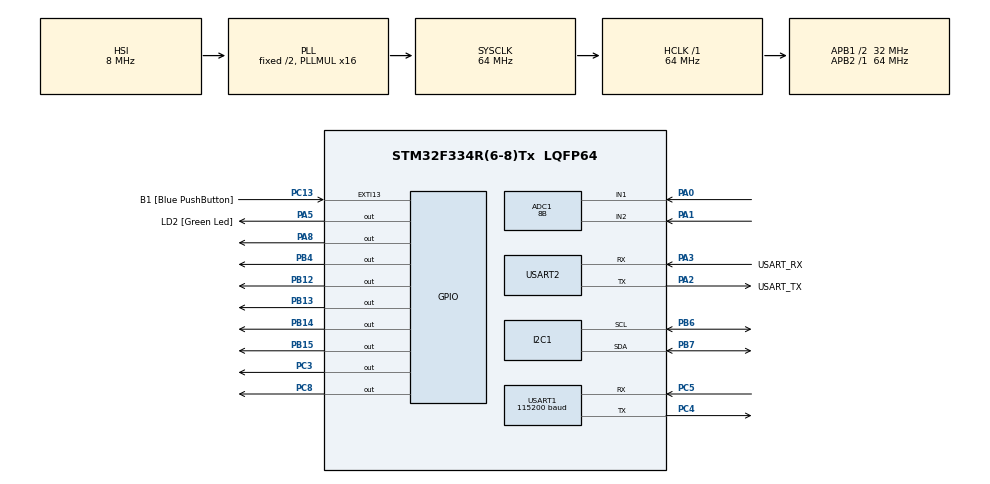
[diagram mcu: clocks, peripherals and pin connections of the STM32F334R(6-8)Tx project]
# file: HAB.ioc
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ADC1.Channel-0\#ChannelRegularConversion=ADC_CHANNEL_1
ADC1.NbrOfConversionFlag=1
ADC1.Offset-0\#ChannelRegularConversion=0
ADC1.OffsetNumber-0\#ChannelRegularConversion=ADC_OFFSET_NONE
ADC1.Rank-0\#ChannelRegularConversion=1
ADC1.Resolution=ADC_RESOLUTION_8B
ADC1.SamplingTime-0\#ChannelRegularConversion=ADC_SAMPLETIME_19CYCLES_5
ADC1.SubFamily=STM32F334x8
ADC1.master=1
Mcu.Family=STM32F3
Mcu.Name=STM32F334R(6-8)Tx
Mcu.Package=LQFP64
NVIC.PriorityGroup=NVIC_PRIORITYGROUP_0
NVIC.TIM2_IRQn=true\:0\:0\:false\:false\:true\:true
NVIC.TIM3_IRQn=true\:0\:0\:false\:false\:true\:true
NVIC.USART1_IRQn=true\:0\:0\:false\:false\:true\:true
PA0.Mode=IN1-Single-Ended
PA0.Signal=ADC1_IN1
PA1.Mode=IN2-Single-Ended
PA1.Signal=ADC1_IN2
PA13.GPIO_Label=TMS
PA13.Mode=Serial_Wire
PA13.Signal=SYS_JTMS-SWDIO
PA14.GPIO_Label=TCK
PA14.Mode=Serial_Wire
PA14.Signal=SYS_JTCK-SWCLK
PA2.GPIO_Label=USART_TX
PA2.Mode=Asynchronous
PA2.Signal=USART2_TX
PA3.GPIO_Label=USART_RX
PA3.Mode=Asynchronous
PA3.Signal=USART2_RX
PA5.GPIO_Label=LD2 [Green Led]
PA5.Signal=GPIO_Output
PA8.Signal=GPIO_Output
PB12.Signal=GPIO_Output
PB13.Signal=GPIO_Output
PB14.Signal=GPIO_Output
PB15.Signal=GPIO_Output
PB3.GPIO_Label=SWO
PB3.Signal=SYS_JTDO-TRACESWO
PB4.Signal=GPIO_Output
PB6.Mode=I2C
PB6.Signal=I2C1_SCL
PB7.Mode=I2C
PB7.Signal=I2C1_SDA
PC13.GPIO_Label=B1 [Blue PushButton]
PC13.GPIO_ModeDefaultEXTI=GPIO_MODE_IT_FALLING
PC13.Signal=GPXTI13
PC14\ /\ OSC32_IN.Mode=LSE-External-Oscillator
PC14\ /\ OSC32_IN.Signal=RCC_OSC32_IN
PC15\ /\ OSC32_OUT.GPIO_Label=RCC_OSC32_OUT
PC15\ /\ OSC32_OUT.Mode=LSE-External-Oscillator
PC15\ /\ OSC32_OUT.Signal=RCC_OSC32_OUT
PC3.Signal=GPIO_Output
PC4.Mode=Asynchronous
PC4.Signal=USART1_TX
PC5.Mode=Asynchronous
PC5.Signal=USART1_RX
PC8.Signal=GPIO_Output
PF0\ /\ OSC_IN.Mode=HSE-External-Clock-Source
PF0\ /\ OSC_IN.Signal=RCC_OSC_IN
PF1\ /\ OSC_OUT.Signal=RCC_OSC_OUT
ProjectManager.HeapSize=0x200
ProjectManager.StackSize=0x400
ProjectManager.TargetToolchain=TrueSTUDIO
RCC.AHBFreq_Value=64000000
RCC.APB1CLKDivider=RCC_HCLK_DIV2
RCC.APB1Freq_Value=32000000
RCC.APB1TimFreq_Value=64000000
RCC.APB2Freq_Value=64000000
RCC.APB2TimFreq_Value=64000000
RCC.CortexFreq_Value=64000000
RCC.FLatency-AdvancedSettings=FLASH_LATENCY_2
RCC.HCLKFreq_Value=64000000
RCC.HSE_VALUE=8000000
RCC.HSI_VALUE=8000000
RCC.PLLMUL=RCC_PLL_MUL16
RCC.SYSCLKFreq_VALUE=64000000
RCC.SYSCLKSourceVirtual=RCC_SYSCLKSOURCE_PLLCLK
TIM2.Period=7999
TIM2.Prescaler=8000
TIM3.Period=62399
TIM3.Prescaler=20000
USART1.BaudRate=115200
USART1.VirtualMode-Asynchronous=VM_ASYNC
USART2.VirtualMode-Asynchronous=VM_ASYNC
VP_TIM2_VS_ClockSourceINT.Mode=Internal
VP_TIM3_VS_ClockSourceINT.Mode=Internal
board=NUCLEO-F334R8

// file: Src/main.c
/* USER CODE BEGIN Header */
/**
 ******************************************************************************
 * @file           : main.c
 * @brief          : Main program body
 ******************************************************************************
 ** This notice applies to any and all portions of this file
 * that are not between comment pairs USER CODE BEGIN and
 * USER CODE END. Other portions of this file, whether
 * inserted by the user or by software development tools
 * are owned by their respective copyright owners.
 *
 * COPYRIGHT(c) 2019 STMicroelectronics
 *
 * Redistribution and use in source and binary forms, with or without modification,
 * are permitted provided that the following conditions are met:
 *   1. Redistributions of source code must retain the above copyright notice,
 *      this list of conditions and the following disclaimer.
 *   2. Redistributions in binary form must reproduce the above copyright notice,
 *      this list of conditions and the following disclaimer in the documentation
 *      and/or other materials provided with the distribution.
 *   3. Neither the name of STMicroelectronics nor the names of its contributors
 *      may be used to endorse or promote products derived from this software
 *      without specific prior written permission.
 *
 * THIS SOFTWARE IS PROVIDED BY THE COPYRIGHT HOLDERS AND CONTRIBUTORS "AS IS"
 * AND ANY EXPRESS OR IMPLIED WARRANTIES, INCLUDING, BUT NOT LIMITED TO, THE
 * IMPLIED WARRANTIES OF MERCHANTABILITY AND FITNESS FOR A PARTICULAR PURPOSE ARE
 * DISCLAIMED. IN NO EVENT SHALL THE COPYRIGHT HOLDER OR CONTRIBUTORS BE LIABLE
 * FOR ANY DIRECT, INDIRECT, INCIDENTAL, SPECIAL, EXEMPLARY, OR CONSEQUENTIAL
 * DAMAGES (INCLUDING, BUT NOT LIMITED TO, PROCUREMENT OF SUBSTITUTE GOODS OR
 * SERVICES; LOSS OF USE, DATA, OR PROFITS; OR BUSINESS INTERRUPTION) HOWEVER
 * CAUSED AND ON ANY THEORY OF LIABILITY, WHETHER IN CONTRACT, STRICT LIABILITY,
 * OR TORT (INCLUDING NEGLIGENCE OR OTHERWISE) ARISING IN ANY WAY OUT OF THE USE
 * OF THIS SOFTWARE, EVEN IF ADVISED OF THE POSSIBILITY OF SUCH DAMAGE.
 *
 ******************************************************************************
 */
/* USER CODE END Header */

#include "main.h"
#include "ADC.h"
#include "I2C.h"
#include "bme280.h"
#include "bme280_defs.h"
#include <strings.h>
#include "stdlib.h"
#include "stdio.h"
#include "bme280.h"
#include "bme280_defs.h"
#include "lis2dh12_reg.h"
#include <main.h>
#include "string.h"
#include "stdlib.h"
#include "stdio.h"
#include <inttypes.h>

#include "auxilliary.h"

ADC_HandleTypeDef hadc1;
I2C_HandleTypeDef hi2c1;
TIM_HandleTypeDef htim2;
TIM_HandleTypeDef htim3;
UART_HandleTypeDef huart1;
UART_HandleTypeDef huart2;

void SystemClock_Config(void);
static void MX_GPIO_Init(void);
static void MX_USART2_UART_Init(void);
static void MX_USART1_UART_Init(void);
static void MX_TIM2_Init(void);
static void MX_ADC1_Init(void);
static void MX_TIM3_Init(void);
static void MX_I2C1_Init(void);
/* USER CODE BEGIN PFP */
uint8_t rec_data;
uint8_t rec_buf[100];
uint8_t rec_index = 0;
int rec_flag =0;
int terminateflag =0;
int string_size=0;

//void user_delay_ms(uint32_t period);
//int8_t user_i2c_read(uint8_t dev_id, uint8_t reg_addr, uint8_t *reg_data, uint16_t len);
//int8_t user_i2c_write(uint8_t dev_id, uint8_t reg_addr, uint8_t *reg_data, uint16_t len);
//void print_sensor_data(struct bme280_data *comp_data);
//int8_t stream_sensor_data_forced_mode(struct bme280_dev *dev);
//int8_t stream_sensor_data_normal_mode(struct bme280_dev *dev);

//User: S. Bedford, SU: 21093741
//Permission A. Esmael, SU: 20797540

char* last_latitude = "";

float hum;
float press;

float temperature;

extern struct bme280_data *comp_data;
extern struct bme280_dev *dev;

ADC_ChannelConfTypeDef sConfig ;

/* USER CODE END PFP */

/* USER CODE BEGIN 0 */

//User: S. Bedford, SU: 21093741
//Permission A. Esmael, SU: 20797540
void HAL_UART_RxCpltCallback(UART_HandleTypeDef *huart)
{
	if(rec_data == '$')
	{
		rec_index = 0;
		terminateflag =0;
	}

	GPGGA_string[rec_index] = rec_data;

	if(GPGGA_string[rec_index] == '*')
	{
		string_size = rec_index+3;
	}
	if(rec_index == string_size && rec_index != 0)
	{
		terminateflag = 1;
	}
	rec_index++;

	HAL_UART_Receive_IT(&huart1 , (uint8_t*)&rec_data , 1);

}
/* USER CODE END 0 */

int main(void)
{
	//User: S. Bedford, SU: 21093741
	//Permission A. Esmael, SU: 20797540

	/* MCU Configuration--------------------------------------------------------*/

	/* Reset of all peripherals, Initializes the Flash interface and the Systick. */
	HAL_Init();

	/* USER CODE BEGIN Init */
	//An altitude above 10km, AND
	//b) Longitude falls outside of the range
	//17.976343 deg to 18.9354 deg

	/* USER CODE END Init */

	/* Configure the system clock */
	SystemClock_Config();

	/* Initialize all configured peripherals */
	MX_GPIO_Init();
	MX_USART2_UART_Init();
	MX_USART1_UART_Init();
	MX_TIM2_Init();
	MX_ADC1_Init();
	MX_TIM3_Init();
	MX_I2C1_Init();
	/* USER CODE BEGIN 2 */

	/* Initialize all configured peripherals */
	MX_GPIO_Init();
	MX_USART2_UART_Init();
	MX_USART1_UART_Init();
	MX_TIM2_Init();
	/* USER CODE BEGIN 2 */

	/* USER CODE BEGIN 2 */

	__HAL_TIM_ENABLE(&htim2);
	__HAL_TIM_ENABLE_IT(&htim2, TIM_IT_UPDATE);

	__HAL_UART_ENABLE_IT(&huart1 , UART_IT_RXNE);
	HAL_UART_Receive_IT(&huart1 , (uint8_t*)&rec_data , 1);

	__HAL_TIM_ENABLE(&htim3);
	__HAL_TIM_ENABLE_IT(&htim3, TIM_IT_UPDATE);

	// lcd
	lcdInit();

	//intialize the BME
	struct bme280_dev dev;

	int8_t rslt = BME280_OK;

	dev.dev_id = BME280_I2C_ADDR_PRIM;
	dev.intf = BME280_I2C_INTF;
	dev.read = user_i2c_read;
	dev.write = user_i2c_write;
	dev.delay_ms = user_delay_ms;
	bme280_init(&dev);

	accelerometerInit();

	/* USER CODE END 2 */

	/* Infinite loop */
	while (1)
	{

		/* USER CODE BEGIN 3 */

		stream_sensor_data_forced_mode(&dev, rslt);

		accelerometerRead();

		ADC();

		//		GPSReceive();
		runtime = HAL_GetTick()/1000;
		if(GPGGA_string[0] != '\0' &&terminateflag ==1)
		{

			GPGGA_Split(GPGGA_string);

		}

		StringPrint();

		if(five_consecutive_check()==1)
		{
			if(burn_flag == 0)
			{
				burn_flag = 1 ;
				burn_start = runtime;
				BurnReleaseOn();
			}
			else
			{
				if(runtime - burn_start >= 10)
				{
					burn_flag =0;
					clear_range_buffer();
					BurnReleaseOff();
				}
			}
		}
	}
	/* USER CODE END 3 */
}

void SystemClock_Config(void)
{
	RCC_OscInitTypeDef RCC_OscInitStruct = {0};
	RCC_ClkInitTypeDef RCC_ClkInitStruct = {0};
	RCC_PeriphCLKInitTypeDef PeriphClkInit = {0};

	/**Initializes the CPU, AHB and APB busses clocks
	 */
	RCC_OscInitStruct.OscillatorType = RCC_OSCILLATORTYPE_HSI;
	RCC_OscInitStruct.HSIState = RCC_HSI_ON;
	RCC_OscInitStruct.HSICalibrationValue = RCC_HSICALIBRATION_DEFAULT;
	RCC_OscInitStruct.PLL.PLLState = RCC_PLL_ON;
	RCC_OscInitStruct.PLL.PLLSource = RCC_PLLSOURCE_HSI;
	RCC_OscInitStruct.PLL.PLLMUL = RCC_PLL_MUL16;
	if (HAL_RCC_OscConfig(&RCC_OscInitStruct) != HAL_OK)
	{
		Error_Handler();
	}
	/**Initializes the CPU, AHB and APB busses clocks
	 */
	RCC_ClkInitStruct.ClockType = RCC_CLOCKTYPE_HCLK|RCC_CLOCKTYPE_SYSCLK
			|RCC_CLOCKTYPE_PCLK1|RCC_CLOCKTYPE_PCLK2;
	RCC_ClkInitStruct.SYSCLKSource = RCC_SYSCLKSOURCE_PLLCLK;
	RCC_ClkInitStruct.AHBCLKDivider = RCC_SYSCLK_DIV1;
	RCC_ClkInitStruct.APB1CLKDivider = RCC_HCLK_DIV2;
	RCC_ClkInitStruct.APB2CLKDivider = RCC_HCLK_DIV1;

	if (HAL_RCC_ClockConfig(&RCC_ClkInitStruct, FLASH_LATENCY_2) != HAL_OK)
	{
		Error_Handler();
	}
	PeriphClkInit.PeriphClockSelection = RCC_PERIPHCLK_USART1|RCC_PERIPHCLK_I2C1
			|RCC_PERIPHCLK_ADC12;
	PeriphClkInit.Usart1ClockSelection = RCC_USART1CLKSOURCE_PCLK1;
	PeriphClkInit.Adc12ClockSelection = RCC_ADC12PLLCLK_DIV1;
	PeriphClkInit.I2c1ClockSelection = RCC_I2C1CLKSOURCE_HSI;
	if (HAL_RCCEx_PeriphCLKConfig(&PeriphClkInit) != HAL_OK)
	{
		Error_Handler();
	}
}

static void MX_ADC1_Init(void)
{

	ADC_MultiModeTypeDef multimode = {0};
	//ADC_ChannelConfTypeDef sConfig = {0};

	/**Common config
	 */
	hadc1.Instance = ADC1;
	hadc1.Init.ClockPrescaler = ADC_CLOCK_ASYNC_DIV1;
	hadc1.Init.Resolution = ADC_RESOLUTION_8B;
	hadc1.Init.ScanConvMode = ADC_SCAN_DISABLE;
	hadc1.Init.ContinuousConvMode = DISABLE;
	hadc1.Init.DiscontinuousConvMode = DISABLE;
	hadc1.Init.ExternalTrigConvEdge = ADC_EXTERNALTRIGCONVEDGE_NONE;
	hadc1.Init.ExternalTrigConv = ADC_SOFTWARE_START;
	hadc1.Init.DataAlign = ADC_DATAALIGN_RIGHT;
	hadc1.Init.NbrOfConversion = 1;
	hadc1.Init.DMAContinuousRequests = DISABLE;
	hadc1.Init.EOCSelection = ADC_EOC_SINGLE_CONV;
	hadc1.Init.LowPowerAutoWait = DISABLE;
	hadc1.Init.Overrun = ADC_OVR_DATA_OVERWRITTEN;
	if (HAL_ADC_Init(&hadc1) != HAL_OK)
	{
		Error_Handler();
	}
	/**Configure the ADC multi-mode
	 */
	multimode.Mode = ADC_MODE_INDEPENDENT;
	if (HAL_ADCEx_MultiModeConfigChannel(&hadc1, &multimode) != HAL_OK)
	{
		Error_Handler();
	}
	/**Configure Regular Channel
	 */
	sConfig.Channel = ADC_CHANNEL_1;
	sConfig.Rank = ADC_REGULAR_RANK_1;
	sConfig.SingleDiff = ADC_SINGLE_ENDED;
	sConfig.SamplingTime = ADC_SAMPLETIME_19CYCLES_5;
	sConfig.OffsetNumber = ADC_OFFSET_NONE;
	sConfig.Offset = 0;
	if (HAL_ADC_ConfigChannel(&hadc1, &sConfig) != HAL_OK)
	{
		Error_Handler();
	}

}

static void MX_I2C1_Init(void)
{

	hi2c1.Instance = I2C1;
	hi2c1.Init.Timing = 0x2000090E;
	hi2c1.Init.OwnAddress1 = 0;
	hi2c1.Init.AddressingMode = I2C_ADDRESSINGMODE_7BIT;
	hi2c1.Init.DualAddressMode = I2C_DUALADDRESS_DISABLE;
	hi2c1.Init.OwnAddress2 = 0;
	hi2c1.Init.OwnAddress2Masks = I2C_OA2_NOMASK;
	hi2c1.Init.GeneralCallMode = I2C_GENERALCALL_DISABLE;
	hi2c1.Init.NoStretchMode = I2C_NOSTRETCH_DISABLE;
	if (HAL_I2C_Init(&hi2c1) != HAL_OK)
	{
		Error_Handler();
	}
	/**Configure Analogue filter
	 */
	if (HAL_I2CEx_ConfigAnalogFilter(&hi2c1, I2C_ANALOGFILTER_ENABLE) != HAL_OK)
	{
		Error_Handler();
	}
	/**Configure Digital filter
	 */
	if (HAL_I2CEx_ConfigDigitalFilter(&hi2c1, 0) != HAL_OK)
	{
		Error_Handler();
	}

}

static void MX_TIM2_Init(void)
{

	TIM_ClockConfigTypeDef sClockSourceConfig = {0};
	TIM_MasterConfigTypeDef sMasterConfig = {0};

	htim2.Instance = TIM2;
	htim2.Init.Prescaler = 8000;
	htim2.Init.CounterMode = TIM_COUNTERMODE_UP;
	htim2.Init.Period = 7999;
	htim2.Init.ClockDivision = TIM_CLOCKDIVISION_DIV1;
	htim2.Init.AutoReloadPreload = TIM_AUTORELOAD_PRELOAD_DISABLE;
	if (HAL_TIM_Base_Init(&htim2) != HAL_OK)
	{
		Error_Handler();
	}
	sClockSourceConfig.ClockSource = TIM_CLOCKSOURCE_INTERNAL;
	if (HAL_TIM_ConfigClockSource(&htim2, &sClockSourceConfig) != HAL_OK)
	{
		Error_Handler();
	}
	sMasterConfig.MasterOutputTrigger = TIM_TRGO_RESET;
	sMasterConfig.MasterSlaveMode = TIM_MASTERSLAVEMODE_DISABLE;
	if (HAL_TIMEx_MasterConfigSynchronization(&htim2, &sMasterConfig) != HAL_OK)
	{
		Error_Handler();
	}

}

static void MX_TIM3_Init(void)
{

	TIM_ClockConfigTypeDef sClockSourceConfig = {0};
	TIM_MasterConfigTypeDef sMasterConfig = {0};

	htim3.Instance = TIM3;
	htim3.Init.Prescaler = 20000;
	htim3.Init.CounterMode = TIM_COUNTERMODE_UP;
	htim3.Init.Period = 62399;
	htim3.Init.ClockDivision = TIM_CLOCKDIVISION_DIV1;
	htim3.Init.AutoReloadPreload = TIM_AUTORELOAD_PRELOAD_DISABLE;
	if (HAL_TIM_Base_Init(&htim3) != HAL_OK)
	{
		Error_Handler();
	}
	sClockSourceConfig.ClockSource = TIM_CLOCKSOURCE_INTERNAL;
	if (HAL_TIM_ConfigClockSource(&htim3, &sClockSourceConfig) != HAL_OK)
	{
		Error_Handler();
	}
	sMasterConfig.MasterOutputTrigger = TIM_TRGO_RESET;
	sMasterConfig.MasterSlaveMode = TIM_MASTERSLAVEMODE_DISABLE;
	if (HAL_TIMEx_MasterConfigSynchronization(&htim3, &sMasterConfig) != HAL_OK)
	{
		Error_Handler();
	}

}

static void MX_USART1_UART_Init(void)
{

	huart1.Instance = USART1;
	huart1.Init.BaudRate = 115200;
	huart1.Init.WordLength = UART_WORDLENGTH_8B;
	huart1.Init.StopBits = UART_STOPBITS_1;
	huart1.Init.Parity = UART_PARITY_NONE;
	huart1.Init.Mode = UART_MODE_TX_RX;
	huart1.Init.HwFlowCtl = UART_HWCONTROL_NONE;
	huart1.Init.OverSampling = UART_OVERSAMPLING_16;
	huart1.Init.OneBitSampling = UART_ONE_BIT_SAMPLE_DISABLE;
	huart1.AdvancedInit.AdvFeatureInit = UART_ADVFEATURE_NO_INIT;
	if (HAL_UART_Init(&huart1) != HAL_OK)
	{
		Error_Handler();
	}

}

static void MX_USART2_UART_Init(void)
{

	huart2.Instance = USART2;
	huart2.Init.BaudRate = 38400;
	huart2.Init.WordLength = UART_WORDLENGTH_8B;
	huart2.Init.StopBits = UART_STOPBITS_1;
	huart2.Init.Parity = UART_PARITY_NONE;
	huart2.Init.Mode = UART_MODE_TX_RX;
	huart2.Init.HwFlowCtl = UART_HWCONTROL_NONE;
	huart2.Init.OverSampling = UART_OVERSAMPLING_16;
	huart2.Init.OneBitSampling = UART_ONE_BIT_SAMPLE_DISABLE;
	huart2.AdvancedInit.AdvFeatureInit = UART_ADVFEATURE_NO_INIT;
	if (HAL_UART_Init(&huart2) != HAL_OK)
	{
		Error_Handler();
	}

}

static void MX_GPIO_Init(void)
{
	GPIO_InitTypeDef GPIO_InitStruct = {0};

	/* GPIO Ports Clock Enable */
	__HAL_RCC_GPIOC_CLK_ENABLE();
	__HAL_RCC_GPIOF_CLK_ENABLE();
	__HAL_RCC_GPIOA_CLK_ENABLE();
	__HAL_RCC_GPIOB_CLK_ENABLE();

	/*Configure GPIO pin Output Level */
	HAL_GPIO_WritePin(GPIOC, GPIO_PIN_3|GPIO_PIN_8, GPIO_PIN_RESET);

	/*Configure GPIO pin Output Level */
	HAL_GPIO_WritePin(GPIOA, LD2_Pin|GPIO_PIN_8, GPIO_PIN_RESET);

	/*Configure GPIO pin Output Level */
	HAL_GPIO_WritePin(GPIOB, GPIO_PIN_12|GPIO_PIN_13|GPIO_PIN_14|GPIO_PIN_15
			|GPIO_PIN_4, GPIO_PIN_RESET);

	/*Configure GPIO pin : B1_Pin */
	GPIO_InitStruct.Pin = B1_Pin;
	GPIO_InitStruct.Mode = GPIO_MODE_IT_FALLING;
	GPIO_InitStruct.Pull = GPIO_NOPULL;
	HAL_GPIO_Init(B1_GPIO_Port, &GPIO_InitStruct);

	/*Configure GPIO pins : PC3 PC8 */
	GPIO_InitStruct.Pin = GPIO_PIN_3|GPIO_PIN_8;
	GPIO_InitStruct.Mode = GPIO_MODE_OUTPUT_PP;
	GPIO_InitStruct.Pull = GPIO_NOPULL;
	GPIO_InitStruct.Speed = GPIO_SPEED_FREQ_LOW;
	HAL_GPIO_Init(GPIOC, &GPIO_InitStruct);

	/*Configure GPIO pins : LD2_Pin PA8 */
	GPIO_InitStruct.Pin = LD2_Pin|GPIO_PIN_8;
	GPIO_InitStruct.Mode = GPIO_MODE_OUTPUT_PP;
	GPIO_InitStruct.Pull = GPIO_NOPULL;
	GPIO_InitStruct.Speed = GPIO_SPEED_FREQ_LOW;
	HAL_GPIO_Init(GPIOA, &GPIO_InitStruct);

	/*Configure GPIO pins : PB12 PB13 PB14 PB15
                           PB4 */
	GPIO_InitStruct.Pin = GPIO_PIN_12|GPIO_PIN_13|GPIO_PIN_14|GPIO_PIN_15
			|GPIO_PIN_4;
	GPIO_InitStruct.Mode = GPIO_MODE_OUTPUT_PP;
	GPIO_InitStruct.Pull = GPIO_NOPULL;
	GPIO_InitStruct.Speed = GPIO_SPEED_FREQ_LOW;
	HAL_GPIO_Init(GPIOB, &GPIO_InitStruct);

}

void Error_Handler(void)
{
}

/************************ (C) COPYRIGHT STMicroelectronics *****END OF FILE****/
